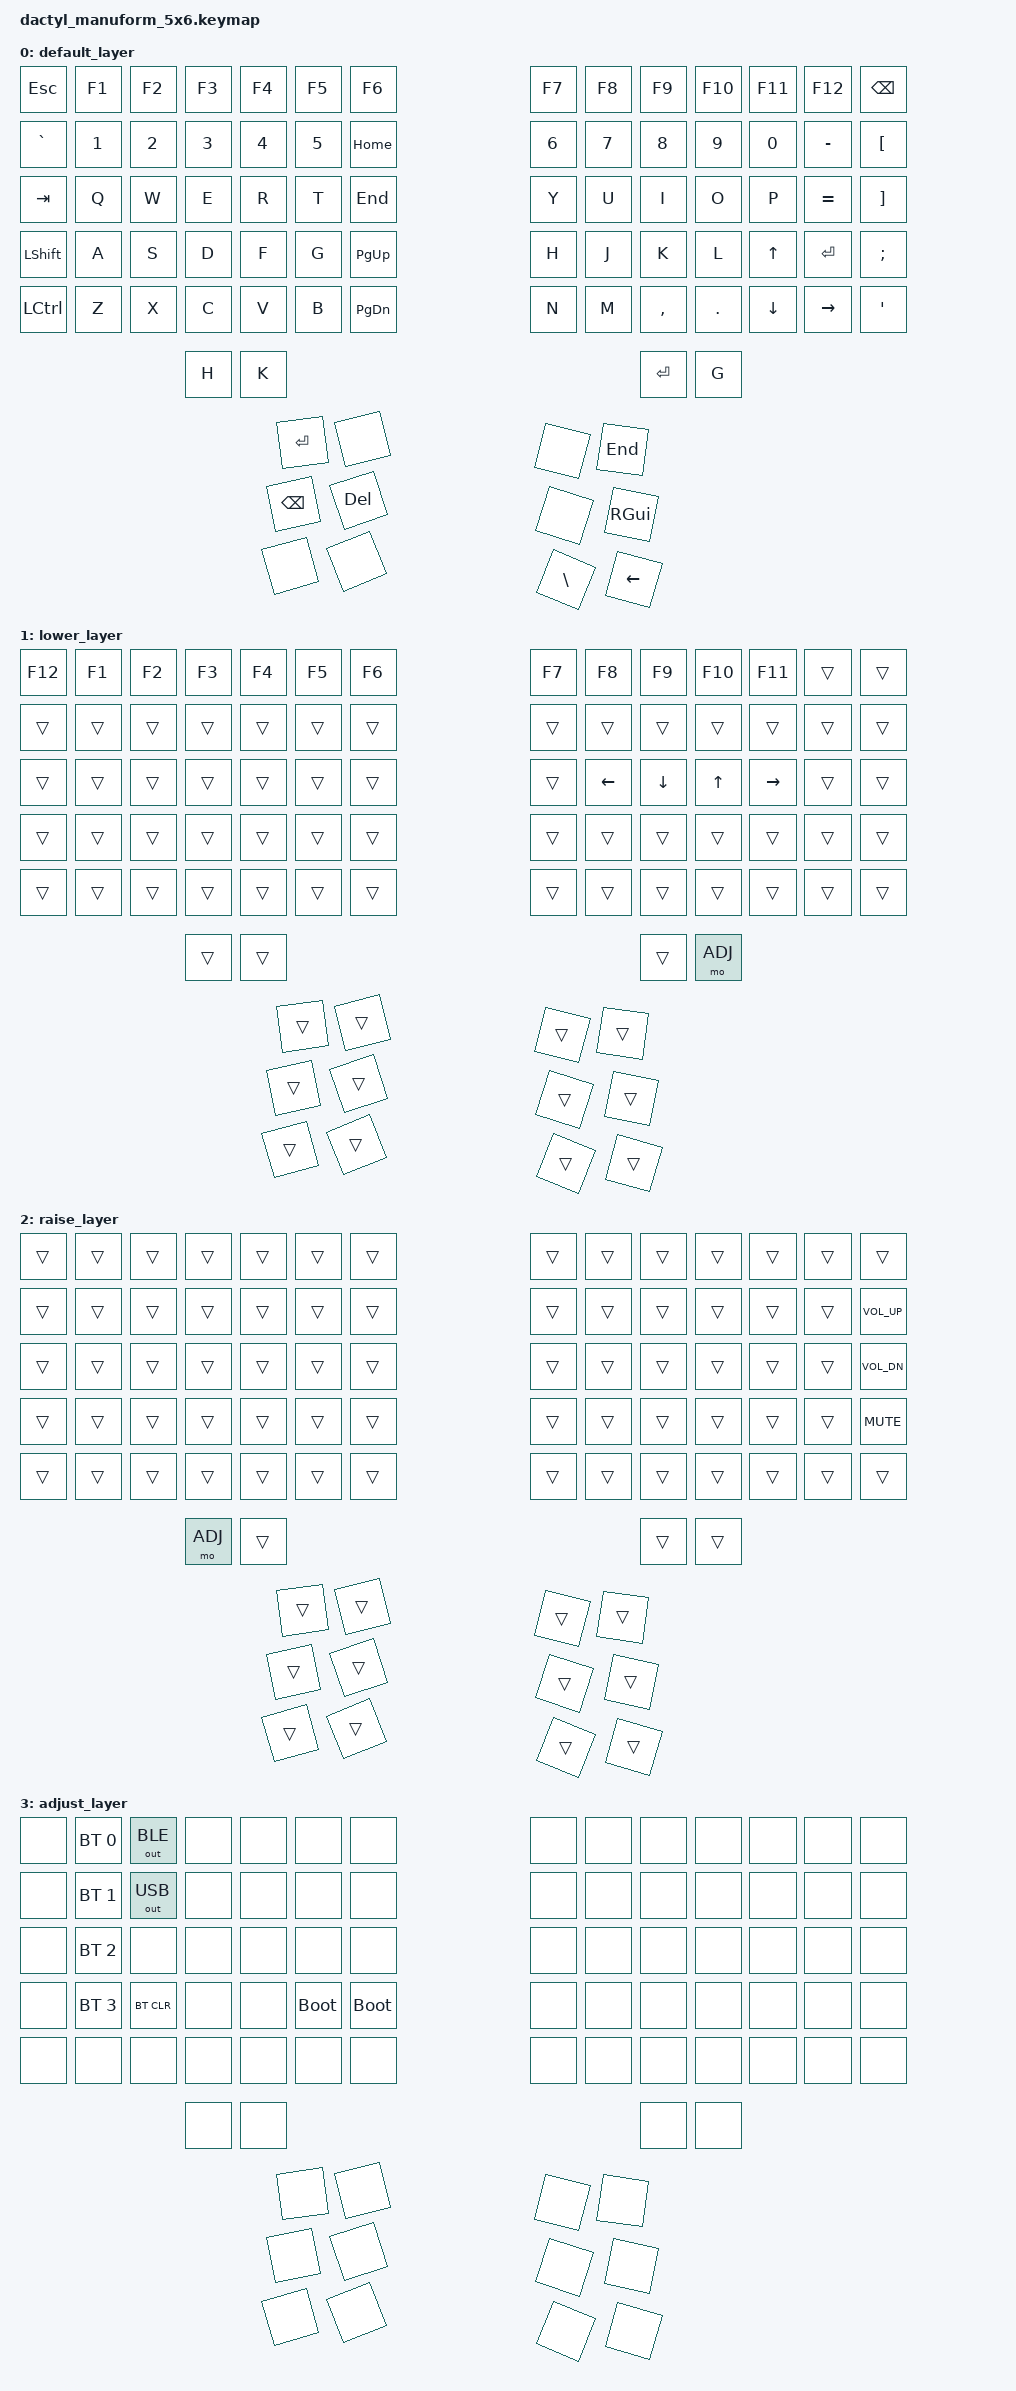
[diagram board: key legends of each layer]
#include <behaviors.dtsi>
#include <dt-bindings/zmk/keys.h>
#include <dt-bindings/zmk/bt.h>
#include <dt-bindings/zmk/outputs.h>

#define DEFAULT 0
#define LWR 1
#define RSE 2
#define ADJ 3

/ {
    keymap {
        compatible = "zmk,keymap";

        default_layer {
            bindings = <
                &kp ESC   &kp F1    &kp F2    &kp F3    &kp F4   &kp F5   &kp F6                  &kp F7   &kp F8    &kp F9    &kp F10  &kp F11   &kp F12   &kp BSPC
                &kp GRAVE &kp N1    &kp N2    &kp N3    &kp N4   &kp N5   &kp HOME                &kp N6   &kp N7    &kp N8    &kp N9   &kp N0    &kp MINUS &kp LBKT
                &kp TAB   &kp Q     &kp W     &kp E     &kp R    &kp T    &kp END                 &kp Y    &kp U     &kp I     &kp O    &kp P     &kp EQUAL &kp RBKT
                &kp LSHFT &kp A     &kp S     &kp D     &kp F    &kp G    &kp PG_UP               &kp H    &kp J     &kp K     &kp L    &kp UP    &kp RET   &kp SEMI
                &kp LCTRL &kp Z     &kp X     &kp C     &kp V    &kp B    &kp PG_DN               &kp N    &kp M     &kp COMMA &kp DOT  &kp DOWN  &kp RIGHT &kp SQT
                                            &kp H      &kp K                                      &kp RET  &kp G
                                                      &kp RET    &none              &none      &kp END
                                                      &kp BSPC   &kp DEL            &none      &kp RGUI
                                            &none       &none              &kp BSLH &kp LEFT
            >;
        };

        lower_layer {
            bindings = <
                &kp F12  &kp F1   &kp F2   &kp F3   &kp F4   &kp F5   &kp F6                 &kp F7   &kp F8   &kp F9   &kp F10  &kp F11  &trans    &trans
                &trans   &trans   &trans   &trans   &trans   &trans   &trans                 &trans   &trans   &trans   &trans   &trans   &trans    &trans
                &trans   &trans   &trans   &trans   &trans   &trans   &trans                 &trans   &kp LEFT &kp DOWN &kp UP   &kp RIGHT &trans   &trans
                &trans   &trans   &trans   &trans   &trans   &trans   &trans                 &trans   &trans   &trans   &trans   &trans   &trans    &trans
                &trans   &trans   &trans   &trans   &trans   &trans   &trans                 &trans   &trans   &trans   &trans   &trans   &trans    &trans
                                            &trans   &trans                                     &trans   &mo ADJ
                                                      &trans   &trans              &trans   &trans
                                                      &trans   &trans              &trans   &trans
                                            &trans   &trans              &trans   &trans
            >;
        };

        raise_layer {
            bindings = <
                &trans   &trans   &trans   &trans   &trans   &trans   &trans               &trans   &trans    &trans    &trans    &trans     &trans     &trans
                &trans   &trans   &trans   &trans   &trans   &trans   &trans               &trans   &trans    &trans    &trans    &trans     &trans     &kp K_VOL_UP
                &trans   &trans   &trans   &trans   &trans   &trans   &trans               &trans   &trans    &trans    &trans    &trans     &trans     &kp K_VOL_DN
                &trans   &trans   &trans   &trans   &trans   &trans   &trans               &trans   &trans    &trans    &trans    &trans     &trans     &kp K_MUTE
                &trans   &trans   &trans   &trans   &trans   &trans   &trans               &trans   &trans    &trans    &trans    &trans     &trans     &trans
                                             &mo ADJ &trans                                     &trans   &trans
                                                      &trans  &trans               &trans   &trans
                                                      &trans  &trans               &trans   &trans
                                             &trans  &trans               &trans   &trans
            >;
        };

        adjust_layer {
            bindings = <
                &none &bt BT_SEL 0 &out OUT_BLE &none &none &none &none            &none       &none &none &none &none &none &none
                &none &bt BT_SEL 1 &out OUT_USB &none &none &none &none            &none       &none &none &none &none &none &none
                &none &bt BT_SEL 2 &none        &none &none &none &none            &none       &none &none &none &none &none &none
                &none &bt BT_SEL 3 &bt BT_CLR   &none &none &bootloader &bootloader &none      &none &none &none &none &none &none
                &none &none        &none        &none &none &none &none            &none       &none &none &none &none &none &none
                                                     &none &none                     &none &none
                                                            &none &none         &none &none
                                                            &none &none         &none &none
                                                     &none &none         &none &none
            >;
        };
    };
};
